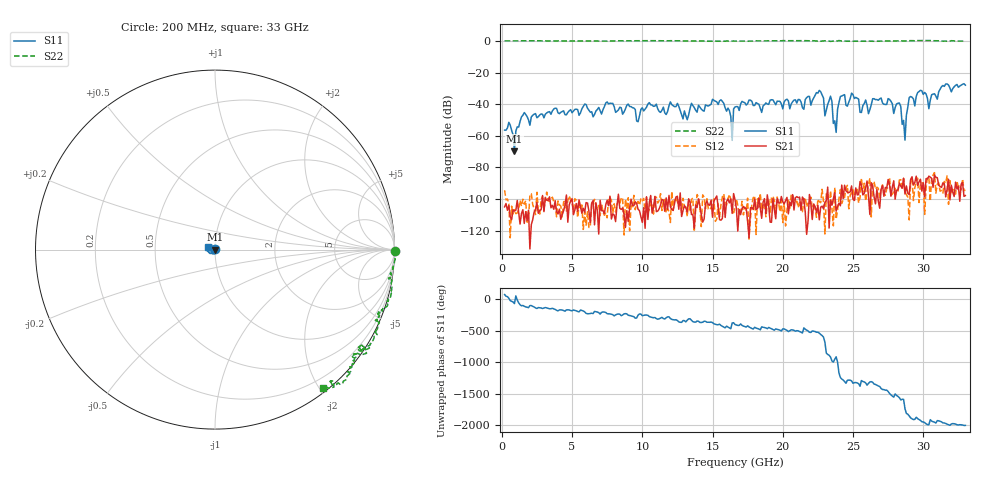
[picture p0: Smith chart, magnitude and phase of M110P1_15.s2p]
# GHZ S RI R 50
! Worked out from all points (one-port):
!   329 points, 200 MHz to 33 GHz, reference 50 ohm
!   lowest |S11| = -69.7 dB at 900 MHz (marker M1), VSWR 1.00, Z = 50 - j0.0314 ohm
!   |S11| at or under -10 dB: start of sweep to end of sweep
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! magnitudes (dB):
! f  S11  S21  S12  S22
! 200 MHz  -56.4  -104.9  -94.4  0.0
! 600 MHz  -53.2  -111.0  -124.5  0.0
! 900 MHz  -69.7  -107.5  -106.7  0.0
! 1.6 GHz  -45.3  -115.4  -103.2  0.0
! 5.7 GHz  -42.9  -108.9  -103.7  -0.1
! 11.2 GHz  -44.6  -106.2  -101.0  0.1
! 15.6 GHz  -37.3  -113.3  -103.6  -0.2
! 16.2 GHz  -44.0  -102.4  -97.1  -0.1
! 16.4 GHz  -62.9  -109.0  -104.4  -0.1
! 16.6 GHz  -41.8  -100.4  -105.1  -0.2
! 22.1 GHz  -37.8  -112.9  -105.7  0.1
! 22.7 GHz  -32.1  -105.1  -102.2  -0.2
! 23 GHz  -47.4  -102.1  -122.1  0.1
! 23.4 GHz  -35.0  -100.6  -94.7  -0.3
! 23.8 GHz  -57.8  -107.6  -112.6  0.0
! 24.1 GHz  -35.2  -104.2  -93.9  0.0
! 27.6 GHz  -37.0  -90.6  -86.5  0.0
! 28.4 GHz  -41.4  -91.8  -87.8  0.0
! 28.7 GHz  -62.8  -96.8  -95.4  0.0
! 29 GHz  -35.8  -97.2  -113.2  0.1
! 30.4 GHz  -42.9  -85.5  -86.4  0.3
! 33 GHz  -28.0  -97.8  -94.4  -0.2
